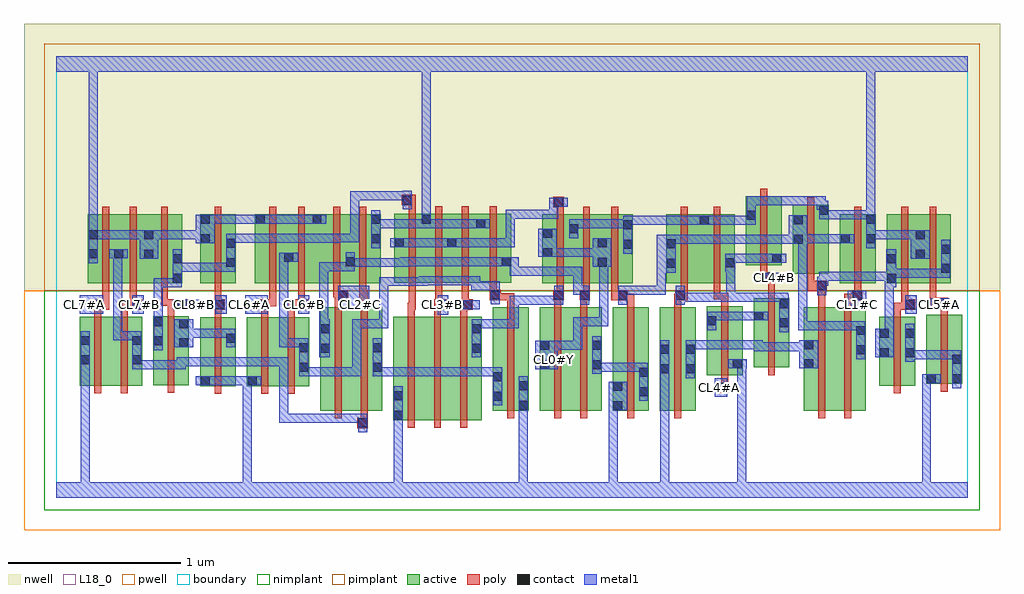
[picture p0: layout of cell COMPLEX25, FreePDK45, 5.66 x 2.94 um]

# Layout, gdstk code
import gdstk
lib = gdstk.Library(unit=1e-6, precision=1e-09)
def R(c, l, rs):  # rectangles x0, y0, x1, y1
    for r in rs: c.add(gdstk.rectangle(r[:2], r[2:], *l))
def A(c, l, x, y, w, h, nx, ny, dx, dy):  # array of equal rectangles
    R(c, l, [(x+i*dx, y+j*dy, x+i*dx+w, y+j*dy+h) for i in range(nx) for j in range(ny)])
active = (1, 0)
pwell = (2, 0)
nwell = (3, 0)
nimplant = (4, 0)
pimplant = (5, 0)
poly = (9, 0)
contact = (10, 0)
metal1 = (11, 0)
L18_0 = (18, 0)
boundary = (235, 0)

complex25 = lib.new_cell('COMPLEX25')
A(complex25, active, 3.1, 0.556, 0.06, 0.548, 3, 1, 0.272, 0)
R(complex25, active, [(1.952,0.45,2.132,1.05), (1.952,0.45,2.012,1.05), (2.132,0.45,2.284,1.05), (2.284,0.45,2.464,1.05), (1.528,0.504,1.708,1.104), (1.708,0.504,1.888,1.104), (2.8,0.504,2.98,1.104), (2.8,0.504,2.86,1.104), (2.98,0.504,3.16,1.104), (3.224,0.504,3.432,1.104), (3.224,0.504,3.284,1.104), (3.496,0.504,3.704,1.104), (3.496,0.504,3.556,1.104), (4.33,0.504,4.51,1.104), (4.51,0.504,4.69,1.104), (2.528,0.506,2.736,1.106), (2.676,0.508,2.736,1.106), (1.528,0.556,1.588,1.104), (1.828,0.556,1.888,1.104), (2.404,0.556,2.464,1.05), (2.528,0.556,2.588,1.106), (4.33,0.556,4.39,1.104), (4.63,0.556,4.69,1.104), (0.832,0.648,1.04,1.048), (0.832,0.648,0.892,0.948), (1.104,0.648,1.284,1.048), (1.104,0.648,1.164,0.948), (1.284,0.648,1.464,1.048), (0.136,0.65,0.316,1.05), (0.316,0.65,0.496,1.05), (4.768,0.65,4.976,1.05), (0.56,0.652,0.768,1.052), (5.04,0.66,5.1,1.06), (5.04,0.66,5.248,1.06), (5.188,0.66,5.248,1.06), (3.768,0.71,3.976,1.11), (3.916,0.71,3.976,0.948), (1.404,0.728,1.464,1.048), (0.136,0.756,0.196,1.05), (0.436,0.756,0.496,1.05), (0.56,0.756,0.62,1.052), (0.708,0.756,0.768,1.052), (0.98,0.756,1.04,1.048), (3.768,0.756,3.828,1.11), (4.04,0.756,4.1,1.156), (4.04,0.756,4.248,1.156), (4.188,0.756,4.248,1.156), (4.768,0.756,4.828,1.05), (4.916,0.756,4.976,1.05), (0.182,1.244,0.242,1.644), (0.182,1.244,0.39,1.644), (0.33,1.244,0.39,1.644), (0.33,1.244,0.566,1.644), (0.506,1.244,0.566,1.644), (0.506,1.244,0.73,1.644), (0.67,1.244,0.73,1.644), (0.832,1.244,0.892,1.644), (0.832,1.244,1.04,1.644), (0.98,1.244,1.04,1.644), (1.15,1.244,1.21,1.644), (1.15,1.244,1.376,1.644), (1.316,1.244,1.376,1.644), (1.316,1.244,1.54,1.644), (1.48,1.244,1.54,1.644), (1.48,1.244,1.732,1.644), (1.672,1.244,1.732,1.644), (1.672,1.244,1.88,1.644), (1.82,1.244,1.88,1.644), (2.816,1.244,2.876,1.644), (2.816,1.244,3.028,1.644), (2.968,1.244,3.028,1.644), (2.968,1.244,3.192,1.644), (3.132,1.244,3.192,1.644), (3.132,1.244,3.34,1.644), (3.28,1.244,3.34,1.644), (3.534,1.244,3.594,1.644), (3.534,1.244,3.784,1.644), (3.724,1.244,3.784,1.644), (3.724,1.244,3.932,1.644), (3.872,1.244,3.932,1.644), (4.54,1.244,4.6,1.644), (4.54,1.244,4.748,1.644), (4.688,1.244,4.748,1.644), (4.812,1.244,4.872,1.644), (4.812,1.244,5.036,1.644), (4.976,1.244,5.036,1.644), (4.976,1.244,5.184,1.644), (5.124,1.244,5.184,1.644), (1.958,1.246,2.018,1.644), (1.958,1.246,2.172,1.646), (2.112,1.246,2.172,1.646), (2.112,1.246,2.322,1.646), (2.262,1.246,2.322,1.644), (2.262,1.246,2.488,1.646), (2.428,1.246,2.488,1.646), (2.428,1.246,2.636,1.646), (2.576,1.246,2.636,1.644), (4.268,1.298,4.476,1.698), (4.268,1.298,4.328,1.644), (4.416,1.298,4.476,1.698), (3.996,1.348,4.204,1.748), (4.144,1.348,4.204,1.644), (3.996,1.48,4.056,1.668)])
R(complex25, pwell, [(-0.188,-0.188,5.468,1.2)])
R(complex25, nwell, [(-0.188,1.2,5.468,2.748)])
R(complex25, nimplant, [(-0.072,-0.072,5.352,1.2)])
R(complex25, pimplant, [(-0.072,1.2,5.352,2.632)])
A(complex25, poly, 2.036, 0.406, 0.04, 0.688, 3, 1, 0.152, 0)
A(complex25, poly, 3.036, 0.46, 0.04, 0.688, 3, 1, 0.272, 0)
A(complex25, poly, 2.036, 1.054, 0.04, 0.076, 3, 1, 0.152, 0)
A(complex25, poly, 3.036, 1.108, 0.04, 0.076, 3, 1, 0.272, 0)
R(complex25, poly, [(1.744,0.404,1.804,0.464), (1.764,0.424,1.804,0.5), (1.612,0.46,1.652,1.148), (1.764,0.46,1.804,1.148), (2.884,0.46,2.924,1.148), (4.414,0.46,4.454,1.148), (4.566,0.46,4.606,1.148), (2.612,0.462,2.652,1.15), (0.916,0.604,0.956,1.092), (1.188,0.604,1.228,1.092), (1.34,0.604,1.38,1.092), (0.22,0.606,0.26,1.094), (0.372,0.606,0.412,1.094), (4.852,0.606,4.892,1.094), (0.644,0.608,0.684,1.096), (3.832,0.61,3.892,0.67), (5.124,0.616,5.164,1.104), (3.852,0.63,3.892,0.706), (3.852,0.666,3.892,1.154), (4.124,0.712,4.164,1.2), (0.916,1.052,0.956,1.13), (1.188,1.052,1.228,1.13), (1.34,1.052,1.38,1.13), (0.22,1.054,0.26,1.13), (0.372,1.054,0.412,1.13), (4.852,1.054,4.892,1.13), (0.644,1.056,0.684,1.132), (5.124,1.064,5.164,1.14), (0.216,1.09,0.306,1.15), (0.22,1.09,0.26,1.13), (0.22,1.09,0.26,1.13), (0.372,1.09,0.496,1.15), (0.916,1.09,0.976,1.15), (1.168,1.09,1.228,1.15), (1.34,1.09,1.458,1.15), (2.036,1.09,2.076,1.13), (2.036,1.09,2.076,1.13), (2.036,1.09,2.082,1.13), (2.042,1.09,2.082,1.242), (2.188,1.09,2.266,1.15), (2.34,1.09,2.412,1.15), (4.852,1.09,4.936,1.13), (4.896,1.09,4.936,1.13), (4.896,1.09,4.976,1.15), (0.644,1.092,0.758,1.152), (5.09,1.1,5.164,1.16), (1.612,1.108,1.652,1.184), (1.764,1.108,1.804,1.204), (2.884,1.108,2.924,1.184), (4.414,1.108,4.454,1.238), (4.566,1.108,4.606,1.184), (0.266,1.11,0.306,1.24), (0.426,1.11,0.466,1.15), (0.426,1.11,0.466,1.15), (0.426,1.11,0.466,1.24), (0.916,1.11,0.956,1.15), (0.916,1.11,0.956,1.15), (0.916,1.11,0.956,1.24), (1.188,1.11,1.228,1.15), (1.188,1.11,1.274,1.15), (1.234,1.11,1.274,1.24), (1.4,1.11,1.44,1.15), (1.4,1.11,1.44,1.15), (1.4,1.11,1.44,1.24), (2.196,1.11,2.236,1.15), (2.196,1.11,2.236,1.15), (2.196,1.11,2.236,1.242), (2.348,1.11,2.388,1.15), (2.348,1.11,2.388,1.15), (2.348,1.11,2.388,1.242), (2.612,1.11,2.652,1.186), (4.896,1.11,4.936,1.24), (0.606,1.112,0.646,1.24), (0.606,1.112,0.684,1.152), (0.644,1.112,0.684,1.152), (3.852,1.114,3.892,1.19), (5.06,1.12,5.1,1.24), (5.06,1.12,5.13,1.16), (5.09,1.12,5.13,1.16), (1.612,1.144,1.69,1.204), (2.88,1.144,2.94,1.204), (3.032,1.144,3.092,1.204), (3.036,1.144,3.076,1.184), (3.036,1.144,3.076,1.184), (3.216,1.144,3.312,1.204), (3.272,1.144,3.312,1.184), (3.272,1.144,3.348,1.184), (3.58,1.144,3.626,1.184), (3.586,1.144,3.626,1.184), (3.586,1.144,3.658,1.204), (4.566,1.144,4.65,1.184), (4.61,1.144,4.65,1.184), (4.61,1.144,4.67,1.204), (2.512,1.146,2.574,1.206), (2.534,1.146,2.574,1.186), (2.534,1.146,2.652,1.186), (3.808,1.15,3.848,1.19), (3.808,1.15,3.848,1.19), (3.808,1.15,3.892,1.19), (3.808,1.15,3.848,1.24), (4.124,1.16,4.164,1.288), (1.604,1.164,1.644,1.24), (1.604,1.164,1.652,1.204), (1.612,1.164,1.652,1.204), (1.756,1.164,1.796,1.24), (1.756,1.164,1.804,1.204), (1.764,1.164,1.804,1.204), (1.764,1.164,1.804,1.204), (2.9,1.164,2.94,1.204), (2.9,1.164,2.94,1.204), (2.9,1.164,2.94,1.24), (3.052,1.164,3.092,1.24), (3.216,1.164,3.256,1.24), (3.618,1.164,3.658,1.24), (4.624,1.164,4.664,1.24), (2.512,1.166,2.552,1.242), (4.352,1.198,4.464,1.258), (4.414,1.198,4.454,1.238), (4.414,1.198,4.454,1.238), (0.266,1.2,0.306,1.688), (0.426,1.2,0.466,1.688), (0.606,1.2,0.646,1.688), (0.916,1.2,0.956,1.688), (1.234,1.2,1.274,1.688), (1.4,1.2,1.44,1.688), (1.604,1.2,1.644,1.688), (1.756,1.2,1.796,1.688), (2.9,1.2,2.94,1.688), (3.052,1.2,3.092,1.688), (3.216,1.2,3.256,1.688), (3.618,1.2,3.658,1.688), (3.808,1.2,3.848,1.688), (4.624,1.2,4.664,1.688), (4.896,1.2,4.936,1.688), (5.06,1.2,5.1,1.688), (2.042,1.202,2.082,1.69), (2.196,1.202,2.236,1.69), (2.348,1.202,2.388,1.69), (2.512,1.202,2.552,1.69), (4.352,1.218,4.392,1.294), (4.08,1.248,4.164,1.308), (4.124,1.248,4.164,1.288), (4.124,1.248,4.164,1.288), (4.352,1.254,4.392,1.742), (4.08,1.268,4.12,1.344), (4.08,1.304,4.12,1.792), (2.9,1.648,2.94,1.724), (2.042,1.65,2.082,1.736), (2.88,1.684,2.94,1.744), (2.002,1.696,2.082,1.756)])
R(complex25, contact, [(1.748,0.408,1.8,0.46), (1.956,0.454,2.008,0.506), (3.228,0.508,3.28,0.56), (2.68,0.512,2.732,0.564), (2.532,0.564,2.584,0.616), (1.956,0.566,2.008,0.618), (3.376,0.59,3.428,0.642), (3.836,0.614,3.888,0.666), (3.228,0.62,3.28,0.672), (2.68,0.624,2.732,0.676), (0.836,0.652,0.888,0.704), (1.108,0.652,1.16,0.704), (5.044,0.664,5.096,0.716), (5.192,0.664,5.244,0.716), (2.532,0.676,2.584,0.728), (3.376,0.702,3.428,0.754), (3.5,0.722,3.552,0.774), (3.648,0.722,3.7,0.774), (1.408,0.732,1.46,0.784), (1.832,0.732,1.884,0.784), (2.804,0.746,2.856,0.798), (3.104,0.746,3.156,0.798), (4.334,0.75,4.386,0.802), (3.92,0.752,3.972,0.804), (0.14,0.774,0.192,0.826), (0.44,0.774,0.492,0.826), (5.192,0.776,5.244,0.828), (4.772,0.816,4.824,0.868), (4.92,0.816,4.972,0.868), (4.634,0.832,4.686,0.884), (3.5,0.834,3.552,0.886), (3.648,0.834,3.7,0.886), (1.532,0.842,1.584,0.894), (2.408,0.842,2.46,0.894), (1.408,0.844,1.46,0.896), (1.832,0.844,1.884,0.896), (2.804,0.858,2.856,0.91), (3.104,0.858,3.156,0.91), (4.334,0.862,4.386,0.914), (0.712,0.872,0.764,0.924), (0.564,0.884,0.616,0.936), (0.14,0.886,0.192,0.938), (0.44,0.886,0.492,0.938), (0.984,0.9,1.036,0.952), (4.772,0.928,4.824,0.98), (4.92,0.928,4.972,0.98), (4.634,0.944,4.686,0.996), (1.532,0.954,1.584,1.006), (2.408,0.954,2.46,1.006), (0.712,0.984,0.764,1.036), (4.192,0.988,4.244,1.04), (0.564,0.996,0.616,1.048), (3.772,1,3.824,1.052), (4.044,1.028,4.096,1.08), (0.22,1.094,0.272,1.146), (0.44,1.094,0.492,1.146), (0.92,1.094,0.972,1.146), (1.172,1.094,1.224,1.146), (1.402,1.094,1.454,1.146), (2.21,1.094,2.262,1.146), (2.356,1.094,2.408,1.146), (4.92,1.094,4.972,1.146), (0.702,1.096,0.754,1.148), (4.192,1.1,4.244,1.152), (5.094,1.104,5.146,1.156), (1.634,1.148,1.686,1.2), (2.884,1.148,2.936,1.2), (3.036,1.148,3.088,1.2), (3.256,1.148,3.308,1.2), (3.59,1.148,3.642,1.2), (4.614,1.148,4.666,1.2), (2.518,1.15,2.57,1.202), (4.408,1.202,4.46,1.254), (0.674,1.248,0.726,1.3), (4.816,1.248,4.868,1.3), (4.108,1.252,4.16,1.304), (5.128,1.304,5.18,1.356), (3.538,1.334,3.59,1.386), (3.876,1.336,3.928,1.388), (0.984,1.338,1.036,1.39), (3.136,1.34,3.188,1.392), (1.676,1.342,1.728,1.394), (2.58,1.342,2.632,1.394), (0.674,1.36,0.726,1.412), (4.816,1.36,4.868,1.412), (4.148,1.364,4.2,1.416), (1.32,1.368,1.372,1.42), (0.51,1.386,0.562,1.438), (4.98,1.386,5.032,1.438), (0.186,1.388,0.238,1.44), (0.334,1.388,0.386,1.44), (2.82,1.396,2.872,1.448), (5.128,1.416,5.18,1.468), (3.284,1.444,3.336,1.496), (3.538,1.446,3.59,1.498), (0.984,1.45,1.036,1.502), (1.962,1.452,2.014,1.504), (2.266,1.452,2.318,1.504), (3.136,1.452,3.188,1.504), (4.272,1.474,4.324,1.526), (0.836,1.476,0.888,1.528), (1.824,1.476,1.876,1.528), (4.544,1.476,4.596,1.528), (4.692,1.476,4.744,1.528), (0.51,1.498,0.562,1.55), (4.98,1.498,5.032,1.55), (0.186,1.5,0.238,1.552), (2.82,1.508,2.872,1.56), (2.972,1.534,3.024,1.586), (3.284,1.556,3.336,1.608), (2.432,1.562,2.484,1.614), (3.728,1.584,3.78,1.636), (4.272,1.586,4.324,1.638), (0.836,1.588,0.888,1.64), (1.154,1.588,1.206,1.64), (1.484,1.588,1.536,1.64), (1.824,1.588,1.876,1.64), (4.692,1.588,4.744,1.64), (2.116,1.59,2.168,1.642), (4,1.612,4.052,1.664), (4.42,1.642,4.472,1.694), (2.884,1.688,2.936,1.74), (2.006,1.7,2.058,1.752)])
R(complex25, metal1, [(0,0,5.28,0.092), (0.14,0.04,0.192,0.092), (0.14,0.04,0.192,0.092), (0.14,0.04,0.192,0.092), (0.14,0.04,0.192,0.092), (0.14,0.04,0.192,0.092), (0.14,0.04,0.192,0.092), (0.14,0.04,0.192,0.092), (0.14,0.04,0.192,0.092), (0.14,0.04,0.192,0.798), (1.08,0.04,1.132,0.092), (1.08,0.04,1.132,0.092), (1.08,0.04,1.132,0.092), (1.08,0.04,1.132,0.092), (1.08,0.04,1.132,0.092), (1.08,0.04,1.132,0.092), (1.08,0.04,1.132,0.092), (1.08,0.04,1.132,0.092), (1.08,0.04,1.132,0.704), (1.956,0.04,2.008,0.092), (1.956,0.04,2.008,0.092), (1.956,0.04,2.008,0.092), (1.956,0.04,2.008,0.092), (1.956,0.04,2.008,0.092), (1.956,0.04,2.008,0.092), (1.956,0.04,2.008,0.478), (2.68,0.04,2.732,0.092), (2.68,0.04,2.732,0.092), (2.68,0.04,2.732,0.092), (2.68,0.04,2.732,0.092), (2.68,0.04,2.732,0.092), (2.68,0.04,2.732,0.092), (2.68,0.04,2.732,0.092), (2.68,0.04,2.732,0.092), (2.68,0.04,2.732,0.536), (3.2,0.04,3.252,0.092), (3.2,0.04,3.252,0.092), (3.2,0.04,3.252,0.092), (3.2,0.04,3.252,0.092), (3.2,0.04,3.252,0.092), (3.2,0.04,3.252,0.092), (3.2,0.04,3.252,0.56), (3.5,0.04,3.552,0.092), (3.5,0.04,3.552,0.092), (3.5,0.04,3.552,0.746), (3.946,0.04,3.998,0.092), (3.946,0.04,3.998,0.092), (3.946,0.04,3.998,0.092), (3.946,0.04,3.998,0.092), (3.946,0.04,3.998,0.092), (3.946,0.04,3.998,0.092), (3.946,0.04,3.998,0.092), (3.946,0.04,3.998,0.092), (3.946,0.04,3.998,0.092), (3.946,0.04,3.998,0.092), (3.946,0.04,3.998,0.804), (5.016,0.04,5.068,0.092), (5.016,0.04,5.068,0.092), (5.016,0.04,5.068,0.092), (5.016,0.04,5.068,0.092), (5.016,0.04,5.068,0.092), (5.016,0.04,5.068,0.092), (5.016,0.04,5.068,0.716), (1.748,0.38,1.8,0.488), (1.956,0.426,2.008,0.478), (1.956,0.426,2.008,0.478), (1.956,0.426,2.008,0.646), (1.292,0.436,1.344,0.488), (1.292,0.436,1.344,0.488), (1.292,0.436,1.344,0.488), (1.292,0.436,1.466,0.488), (1.292,0.436,1.344,0.814), (1.414,0.436,1.466,0.488), (1.414,0.436,1.466,0.488), (1.414,0.436,1.466,0.488), (1.414,0.436,1.466,0.488), (1.414,0.436,1.466,0.488), (1.414,0.436,1.466,0.488), (1.414,0.436,1.466,0.488), (1.414,0.436,1.646,0.488), (1.594,0.436,1.646,0.488), (1.594,0.436,1.686,0.488), (1.634,0.436,1.686,0.488), (1.634,0.436,1.686,0.488), (1.634,0.436,1.686,0.488), (1.634,0.436,1.8,0.488), (2.68,0.484,2.732,0.704), (3.2,0.508,3.252,0.56), (3.2,0.508,3.252,0.56), (3.2,0.508,3.308,0.672), (2.532,0.536,2.584,0.756), (3.376,0.562,3.428,0.782), (3.814,0.586,3.888,0.694), (5.192,0.636,5.244,0.856), (0.808,0.652,0.916,0.704), (0.864,0.652,0.916,0.704), (0.864,0.652,0.916,0.704), (0.864,0.652,1.036,0.704), (0.984,0.652,1.036,0.704), (0.984,0.652,1.132,0.704), (1.08,0.652,1.132,0.704), (1.08,0.652,1.132,0.704), (1.08,0.652,1.132,0.704), (1.08,0.652,1.132,0.704), (1.08,0.652,1.188,0.704), (5.016,0.664,5.068,0.716), (5.016,0.664,5.068,0.716), (5.016,0.664,5.068,0.716), (5.016,0.664,5.068,0.716), (5.016,0.664,5.068,0.716), (5.016,0.664,5.068,0.716), (5.016,0.664,5.124,0.716), (3.5,0.694,3.552,0.746), (3.5,0.694,3.552,0.746), (3.5,0.694,3.552,0.746), (3.5,0.694,3.552,0.746), (3.5,0.694,3.552,0.746), (3.5,0.694,3.552,0.746), (3.5,0.694,3.552,0.914), (3.648,0.694,3.7,0.914), (1.408,0.704,1.46,0.756), (1.408,0.704,1.46,0.756), (1.408,0.704,1.46,0.756), (1.408,0.704,1.46,0.756), (1.408,0.704,1.46,0.924), (1.408,0.704,1.646,0.756), (1.594,0.704,1.646,0.756), (1.594,0.704,1.766,0.756), (1.714,0.704,1.766,0.756), (1.714,0.704,1.766,1.034), (1.832,0.704,1.884,0.924), (1.832,0.704,2.042,0.756), (1.99,0.704,2.042,0.756), (1.99,0.704,2.042,0.756), (1.99,0.704,2.042,0.756), (1.99,0.704,2.18,0.756), (2.128,0.704,2.18,0.756), (2.128,0.704,2.18,0.756), (2.128,0.704,2.18,0.756), (2.128,0.704,2.346,0.756), (2.294,0.704,2.346,0.756), (2.294,0.704,2.346,0.756), (2.294,0.704,2.346,0.756), (2.294,0.704,2.456,0.756), (2.404,0.704,2.456,0.756), (2.404,0.704,2.584,0.756), (3.104,0.718,3.156,0.938), (3.104,0.73,3.198,0.782), (3.146,0.73,3.198,0.782), (3.146,0.73,3.422,0.782), (3.37,0.73,3.422,0.782), (3.37,0.73,3.428,0.782), (0.14,0.746,0.192,0.798), (0.14,0.746,0.192,0.798), (0.14,0.746,0.192,0.798), (0.14,0.746,0.192,0.798), (0.14,0.746,0.192,0.966), (0.44,0.746,0.492,0.798), (0.44,0.746,0.492,0.798), (0.44,0.746,0.492,0.798), (0.44,0.746,0.492,0.798), (0.44,0.746,0.492,0.966), (0.44,0.746,0.75,0.798), (0.698,0.746,0.75,0.814), (2.776,0.746,2.906,0.91), (4.306,0.75,4.414,0.914), (3.892,0.752,4,0.804), (3.946,0.752,3.998,0.804), (3.946,0.752,3.998,0.804), (0.698,0.762,0.75,0.814), (0.698,0.762,0.75,0.814), (0.698,0.762,0.902,0.814), (0.85,0.762,0.902,0.814), (0.85,0.762,0.902,0.814), (0.85,0.762,0.902,0.814), (0.85,0.762,1.036,0.814), (0.984,0.762,1.036,0.814), (0.984,0.762,1.154,0.814), (1.102,0.762,1.154,0.814), (1.102,0.762,1.154,0.814), (1.102,0.762,1.154,0.814), (1.102,0.762,1.154,0.814), (1.102,0.762,1.154,0.814), (1.102,0.762,1.344,0.814), (1.292,0.762,1.344,0.814), (4.92,0.788,4.972,1.008), (4.634,0.804,4.686,1.024), (4.92,0.804,4.978,0.856), (4.926,0.804,4.978,0.856), (4.926,0.804,5.244,0.856), (5.192,0.804,5.244,0.856), (5.192,0.804,5.244,0.856), (1.524,0.814,1.584,1.034), (2.408,0.814,2.46,1.034), (4.744,0.816,4.852,0.98), (4.04,0.85,4.162,0.902), (4.04,0.85,4.092,0.914), (4.11,0.85,4.162,0.902), (4.11,0.85,4.358,0.902), (0.564,0.856,0.616,1.076), (2.854,0.858,2.906,0.91), (2.854,0.858,2.906,0.91), (2.854,0.858,2.906,0.91), (2.854,0.858,2.906,0.91), (2.854,0.858,3.046,0.91), (2.994,0.858,3.046,0.91), (2.994,0.858,3.046,1.048), (3.648,0.862,3.818,0.914), (3.766,0.862,3.818,0.914), (3.766,0.862,3.934,0.914), (3.882,0.862,3.934,0.914), (3.882,0.862,3.934,0.914), (3.882,0.862,3.934,0.914), (3.882,0.862,4.044,0.914), (3.992,0.862,4.044,0.914), (3.992,0.862,4.092,0.914), (0.684,0.872,0.792,1.036), (0.984,0.872,1.036,0.98), (1.292,0.872,1.344,0.924), (1.292,0.872,1.344,0.924), (1.292,0.872,1.344,0.924), (1.292,0.872,1.344,0.924), (1.292,0.872,1.344,0.924), (1.292,0.872,1.344,0.924), (1.292,0.872,1.344,0.924), (1.292,0.872,1.46,0.924), (1.292,0.872,1.344,1.42), (0.33,0.914,0.382,0.966), (0.33,0.914,0.382,0.966), (0.33,0.914,0.382,0.966), (0.33,0.914,0.492,0.966), (0.33,0.914,0.382,1.44), (0.74,0.928,0.926,0.98), (0.874,0.928,0.926,0.98), (0.874,0.928,0.926,0.98), (0.874,0.928,0.926,0.98), (0.874,0.928,1.036,0.98), (4.8,0.928,4.852,1.272), (4.188,0.96,4.244,1.18), (3.772,0.972,3.824,1.08), (4.3,0.972,4.352,1.024), (4.3,0.972,4.406,1.024), (4.3,0.972,4.352,1.526), (4.354,0.972,4.406,1.024), (4.354,0.972,4.472,1.024), (4.42,0.972,4.472,1.024), (4.42,0.972,4.57,1.024), (4.518,0.972,4.57,1.024), (4.518,0.972,4.686,1.024), (4.634,0.972,4.686,1.024), (4.634,0.972,4.686,1.024), (1.524,0.982,1.576,1.034), (1.524,0.982,1.576,1.034), (1.524,0.982,1.576,1.366), (1.714,0.982,1.766,1.034), (1.714,0.982,1.766,1.034), (1.714,0.982,1.766,1.034), (1.714,0.982,1.924,1.034), (1.872,0.982,1.924,1.034), (1.872,0.982,1.924,1.034), (1.872,0.982,1.924,1.034), (1.872,0.982,1.924,1.28), (2.408,0.982,2.46,1.034), (2.408,0.982,2.46,1.034), (2.408,0.982,2.68,1.034), (2.628,0.982,2.68,1.034), (2.628,0.982,2.68,1.034), (2.628,0.982,2.68,1.034), (2.628,0.982,2.68,1.172), (2.994,0.996,3.046,1.048), (2.994,0.996,3.046,1.048), (2.994,0.996,3.046,1.048), (2.994,0.996,3.198,1.048), (3.146,0.996,3.198,1.048), (3.146,0.996,3.198,1.048), (3.146,0.996,3.198,1.048), (3.146,0.996,3.198,1.392), (0.564,1.024,0.616,1.076), (0.564,1.024,0.616,1.076), (0.564,1.024,0.616,1.076), (0.564,1.024,0.616,1.076), (0.564,1.024,0.616,1.272), (3.772,1.028,3.934,1.08), (3.882,1.028,3.934,1.08), (3.882,1.028,3.934,1.08), (3.882,1.028,3.934,1.08), (3.882,1.028,4.068,1.08), (4.016,1.028,4.124,1.08), (2.21,1.062,2.27,1.174), (0.134,1.066,0.272,1.174), (0.44,1.066,0.506,1.174), (0.92,1.066,0.986,1.174), (1.094,1.066,1.224,1.174), (1.402,1.066,1.466,1.174), (4.92,1.066,4.986,1.174), (0.674,1.094,0.854,1.148), (1.634,1.094,1.814,1.228), (2.328,1.094,2.454,1.146), (4.586,1.094,4.694,1.2), (5.066,1.094,5.174,1.156), (2.628,1.12,2.68,1.172), (2.628,1.12,2.79,1.172), (2.738,1.12,2.79,1.172), (2.738,1.12,2.936,1.172), (2.884,1.12,2.936,1.228), (3.036,1.12,3.088,1.228), (3.256,1.12,3.308,1.228), (3.59,1.12,3.642,1.228), (2.518,1.122,2.57,1.256), (4.188,1.128,4.24,1.19), (3.59,1.138,3.7,1.19), (3.648,1.138,3.7,1.19), (3.648,1.138,3.752,1.19), (3.7,1.138,3.752,1.19), (3.7,1.138,3.934,1.19), (3.882,1.138,3.934,1.19), (3.882,1.138,3.934,1.19), (3.882,1.138,3.934,1.19), (3.882,1.138,3.934,1.19), (3.882,1.138,3.934,1.19), (3.882,1.138,4.044,1.19), (3.882,1.138,3.934,1.36), (3.992,1.138,4.044,1.19), (3.992,1.138,4.044,1.19), (3.992,1.138,4.044,1.19), (3.992,1.138,4.24,1.19), (4.188,1.138,4.24,1.19), (4.408,1.174,4.46,1.282), (2.994,1.176,3.088,1.228), (2.994,1.176,3.046,1.338), (3.256,1.176,3.308,1.228), (3.256,1.176,3.308,1.228), (3.256,1.176,3.532,1.228), (3.48,1.176,3.532,1.228), (3.48,1.176,3.532,1.358), (2.404,1.204,2.456,1.256), (2.404,1.204,2.456,1.256), (2.404,1.204,2.456,1.284), (2.404,1.204,2.57,1.256), (0.564,1.22,0.616,1.272), (0.564,1.22,0.726,1.272), (0.674,1.22,0.726,1.272), (0.674,1.22,0.726,1.272), (0.674,1.22,0.726,1.44), (4.8,1.22,4.852,1.272), (4.8,1.22,4.852,1.272), (4.8,1.22,4.862,1.272), (4.81,1.22,4.862,1.272), (4.81,1.22,4.868,1.44), (1.872,1.228,1.924,1.28), (1.872,1.228,2.07,1.28), (2.018,1.228,2.07,1.28), (2.018,1.228,2.152,1.28), (2.1,1.228,2.152,1.28), (2.1,1.228,2.152,1.28), (2.1,1.228,2.152,1.284), (4.408,1.23,4.472,1.282), (4.42,1.23,4.472,1.282), (4.42,1.23,4.472,1.31), (2.1,1.232,2.236,1.284), (2.184,1.232,2.236,1.284), (2.184,1.232,2.346,1.284), (2.294,1.232,2.346,1.284), (2.294,1.232,2.346,1.284), (2.294,1.232,2.346,1.284), (2.294,1.232,2.456,1.284), (4.08,1.252,4.214,1.306), (4.42,1.258,4.472,1.31), (4.42,1.258,4.576,1.31), (4.524,1.258,4.576,1.31), (4.524,1.258,4.686,1.31), (4.634,1.258,4.686,1.31), (4.634,1.258,4.686,1.31), (4.634,1.258,4.686,1.31), (4.634,1.258,4.862,1.31), (4.816,1.276,4.868,1.328), (4.816,1.276,4.868,1.328), (4.816,1.276,5.008,1.328), (4.956,1.276,5.008,1.328), (4.956,1.276,5.008,1.328), (4.956,1.276,5.008,1.328), (4.956,1.276,5.18,1.328), (5.128,1.276,5.18,1.328), (5.128,1.276,5.18,1.328), (5.128,1.276,5.18,1.496), (2.628,1.286,2.68,1.338), (2.628,1.286,2.68,1.394), (2.628,1.286,2.814,1.338), (2.762,1.286,2.814,1.338), (2.762,1.286,2.814,1.338), (2.762,1.286,2.814,1.338), (2.762,1.286,3.046,1.338), (3.48,1.306,3.59,1.526), (3.876,1.308,3.934,1.416), (0.674,1.31,0.926,1.362), (0.874,1.31,0.926,1.362), (0.874,1.31,0.926,1.362), (0.874,1.31,0.926,1.362), (0.874,1.31,1.036,1.362), (0.984,1.31,1.036,1.53), (1.524,1.314,1.576,1.366), (1.524,1.314,1.576,1.366), (1.524,1.314,1.576,1.366), (1.524,1.314,1.576,1.366), (1.524,1.314,1.576,1.366), (1.524,1.314,1.728,1.366), (1.676,1.314,1.728,1.422), (1.676,1.338,1.766,1.39), (1.714,1.338,1.766,1.39), (1.714,1.338,1.91,1.39), (1.858,1.338,1.91,1.39), (1.858,1.338,2.042,1.39), (1.99,1.338,2.042,1.39), (1.99,1.338,2.042,1.39), (1.99,1.338,2.042,1.394), (3.108,1.34,3.216,1.504), (1.99,1.342,2.18,1.394), (2.128,1.342,2.18,1.394), (2.128,1.342,2.236,1.394), (2.184,1.342,2.236,1.394), (2.184,1.342,2.346,1.394), (2.294,1.342,2.346,1.394), (2.294,1.342,2.346,1.394), (2.294,1.342,2.346,1.394), (2.294,1.342,2.46,1.394), (2.408,1.342,2.46,1.394), (2.408,1.342,2.46,1.394), (2.408,1.342,2.46,1.394), (2.408,1.342,2.604,1.394), (2.552,1.342,2.604,1.394), (2.552,1.342,2.604,1.394), (2.552,1.342,2.68,1.394), (0.186,1.36,0.238,1.58), (3.882,1.364,4.044,1.416), (3.992,1.364,4.044,1.416), (3.992,1.364,4.172,1.416), (4.12,1.364,4.172,1.416), (4.12,1.364,4.172,1.416), (4.12,1.364,4.228,1.416), (1.292,1.368,1.4,1.42), (0.482,1.386,0.59,1.55), (4.952,1.386,5.06,1.55), (0.306,1.388,0.414,1.44), (0.33,1.388,0.382,1.44), (0.33,1.388,0.382,1.44), (0.33,1.388,0.382,1.44), (0.33,1.388,0.382,1.44), (2.792,1.396,2.9,1.56), (2.848,1.396,2.9,1.448), (2.848,1.396,2.9,1.448), (2.848,1.396,3.046,1.448), (2.994,1.396,3.046,1.448), (2.994,1.396,3.046,1.448), (2.994,1.396,3.046,1.448), (2.994,1.396,3.16,1.448), (3.284,1.416,3.336,1.636), (1.824,1.448,1.876,1.668), (4.692,1.448,4.744,1.668), (1.934,1.452,2.042,1.504), (1.99,1.452,2.042,1.504), (1.99,1.452,2.042,1.504), (1.99,1.452,2.18,1.504), (2.128,1.452,2.18,1.504), (2.128,1.452,2.18,1.504), (2.128,1.452,2.18,1.504), (2.128,1.452,2.29,1.504), (2.238,1.452,2.346,1.504), (2.294,1.452,2.346,1.504), (2.294,1.452,2.346,1.504), (2.294,1.452,2.456,1.504), (2.404,1.452,2.456,1.504), (2.404,1.452,2.456,1.504), (2.404,1.452,2.456,1.504), (2.404,1.452,2.656,1.504), (2.604,1.452,2.656,1.67), (3.538,1.474,3.59,1.526), (3.538,1.474,3.59,1.526), (3.538,1.474,3.708,1.526), (3.656,1.474,3.708,1.526), (3.656,1.474,3.818,1.526), (3.766,1.474,3.818,1.526), (3.766,1.474,3.818,1.526), (3.766,1.474,3.818,1.526), (3.766,1.474,3.818,1.526), (3.766,1.474,3.818,1.526), (3.766,1.474,3.934,1.526), (3.882,1.474,3.934,1.526), (3.882,1.474,4.044,1.526), (3.992,1.474,4.044,1.526), (3.992,1.474,4.044,1.526), (3.992,1.474,4.044,1.526), (3.992,1.474,4.296,1.526), (4.244,1.474,4.296,1.526), (4.244,1.474,4.296,1.526), (4.244,1.474,4.352,1.638), (4.298,1.474,4.35,1.526), (4.298,1.474,4.35,1.526), (4.298,1.474,4.35,1.526), (4.298,1.474,4.35,1.526), (4.298,1.474,4.35,1.526), (4.298,1.474,4.352,1.526), (0.808,1.476,0.916,1.64), (4.3,1.476,4.458,1.528), (4.406,1.476,4.458,1.528), (4.406,1.476,4.462,1.528), (4.41,1.476,4.462,1.528), (4.41,1.476,4.568,1.528), (4.516,1.476,4.624,1.528), (0.984,1.478,1.036,1.53), (0.984,1.478,1.036,1.53), (0.984,1.478,1.234,1.53), (1.182,1.478,1.234,1.53), (1.182,1.478,1.234,1.53), (1.182,1.478,1.234,1.53), (1.182,1.478,1.344,1.53), (1.292,1.478,1.344,1.53), (1.292,1.478,1.344,1.53), (1.292,1.478,1.344,1.53), (1.292,1.478,1.466,1.53), (1.414,1.478,1.466,1.53), (1.414,1.478,1.466,1.53), (1.414,1.478,1.466,1.53), (1.414,1.478,1.646,1.53), (1.594,1.478,1.646,1.532), (1.594,1.48,1.756,1.532), (1.704,1.48,1.756,1.532), (1.704,1.48,1.756,1.778), (0.186,1.498,0.238,1.55), (0.186,1.498,0.238,1.55), (0.186,1.498,0.382,1.55), (0.33,1.498,0.382,1.55), (0.33,1.498,0.382,1.55), (0.33,1.498,0.382,1.55), (0.33,1.498,0.534,1.55), (0.538,1.498,0.59,1.55), (0.538,1.498,0.59,1.55), (0.538,1.498,0.726,1.55), (0.674,1.498,0.726,1.55), (0.674,1.498,0.726,1.55), (0.674,1.498,0.726,1.55), (0.674,1.498,0.86,1.55), (4.692,1.498,4.862,1.55), (4.81,1.498,4.862,1.55), (4.81,1.498,4.862,1.55), (4.81,1.498,4.862,1.55), (4.81,1.498,5.004,1.55), (2.972,1.506,3.024,1.614), (0.186,1.528,0.238,2.52), (1.824,1.562,1.876,1.614), (1.824,1.562,1.876,1.614), (1.824,1.562,2.07,1.614), (2.018,1.562,2.07,1.614), (2.018,1.562,2.168,1.614), (2.116,1.562,2.168,1.67), (2.116,1.562,2.21,1.614), (2.158,1.562,2.21,1.614), (2.158,1.562,2.346,1.614), (2.294,1.562,2.346,1.614), (2.294,1.562,2.346,1.614), (2.294,1.562,2.346,1.614), (2.294,1.562,2.456,1.614), (2.404,1.562,2.512,1.614), (2.972,1.562,3.088,1.614), (3.036,1.562,3.088,1.614), (3.036,1.562,3.198,1.614), (3.146,1.562,3.198,1.614), (3.146,1.562,3.198,1.614), (3.146,1.562,3.198,1.614), (3.146,1.562,3.336,1.614), (3.284,1.562,3.336,1.614), (3.284,1.562,3.336,1.614), (3.284,1.584,3.59,1.636), (3.538,1.584,3.59,1.636), (3.538,1.584,3.59,1.636), (3.538,1.584,3.59,1.636), (3.538,1.584,3.7,1.636), (3.648,1.584,3.7,1.636), (3.648,1.584,3.752,1.636), (3.7,1.584,3.808,1.636), (3.756,1.584,3.934,1.636), (3.882,1.584,3.934,1.636), (3.882,1.584,3.934,1.636), (3.882,1.584,3.934,1.636), (3.882,1.584,4.052,1.636), (4,1.584,4.052,1.692), (0.864,1.588,0.916,1.64), (0.864,1.588,0.916,1.64), (0.864,1.588,1.036,1.64), (0.984,1.588,1.036,1.64), (0.984,1.588,1.178,1.64), (1.126,1.588,1.234,1.64), (1.182,1.588,1.234,1.64), (1.182,1.588,1.234,1.64), (1.182,1.588,1.344,1.64), (1.292,1.588,1.344,1.64), (1.292,1.588,1.344,1.64), (1.292,1.588,1.344,1.64), (1.292,1.588,1.508,1.64), (1.456,1.588,1.564,1.64), (4.42,1.614,4.472,1.722), (4.42,1.616,4.576,1.668), (4.524,1.616,4.576,1.668), (4.524,1.616,4.582,1.668), (4.53,1.616,4.582,1.668), (4.53,1.616,4.744,1.668), (4.692,1.616,4.744,1.668), (4.692,1.616,4.744,1.668), (4.692,1.616,4.744,1.668), (4.692,1.616,4.744,1.668), (4.692,1.616,4.744,2.52), (2.116,1.618,2.168,2.52), (2.604,1.618,2.656,1.67), (2.604,1.618,2.656,1.67), (2.604,1.618,2.908,1.67), (2.856,1.618,2.908,1.67), (2.856,1.618,2.908,1.67), (2.856,1.618,2.908,1.67), (2.856,1.618,2.908,1.67), (2.856,1.618,2.908,1.67), (2.856,1.618,2.908,1.74), (4,1.64,4.052,1.692), (4,1.64,4.052,1.748), (4.406,1.67,4.472,1.722), (4.406,1.67,4.458,1.748), (2.006,1.672,2.058,1.78), (2.856,1.688,2.908,1.74), (2.856,1.688,2.908,1.74), (2.856,1.688,2.964,1.74), (4,1.696,4.282,1.748), (4.23,1.696,4.282,1.748), (4.23,1.696,4.282,1.748), (4.23,1.696,4.282,1.748), (4.23,1.696,4.458,1.748), (1.704,1.726,1.756,1.778), (1.704,1.726,1.756,1.778), (1.704,1.726,1.756,1.778), (1.704,1.726,1.756,1.778), (1.704,1.726,1.756,1.778), (1.704,1.726,1.756,1.778), (1.704,1.726,1.756,1.778), (1.704,1.726,1.932,1.778), (1.88,1.726,1.932,1.778), (1.88,1.726,1.932,1.778), (1.88,1.726,1.932,1.778), (1.88,1.726,2.058,1.778), (0,2.468,5.28,2.56), (0.186,2.468,0.238,2.52), (0.186,2.468,0.238,2.52), (0.186,2.468,0.238,2.52), (0.186,2.468,0.238,2.52), (0.186,2.468,0.238,2.52), (0.186,2.468,0.238,2.52), (0.186,2.468,0.238,2.52), (0.186,2.468,0.238,2.52), (0.186,2.468,0.238,2.52), (0.186,2.468,0.238,2.52), (0.186,2.468,0.238,2.52), (0.186,2.468,0.238,2.52), (0.186,2.468,0.238,2.52), (0.186,2.468,0.238,2.52), (0.186,2.468,0.238,2.52), (0.186,2.468,0.238,2.52), (2.116,2.468,2.168,2.52), (2.116,2.468,2.168,2.52), (2.116,2.468,2.168,2.52), (2.116,2.468,2.168,2.52), (2.116,2.468,2.168,2.52), (2.116,2.468,2.168,2.52), (2.116,2.468,2.168,2.52), (2.116,2.468,2.168,2.52), (2.116,2.468,2.168,2.52), (2.116,2.468,2.168,2.52), (2.116,2.468,2.168,2.52), (2.116,2.468,2.168,2.52), (2.116,2.468,2.168,2.52), (2.116,2.468,2.168,2.52), (2.116,2.468,2.168,2.52), (2.116,2.468,2.168,2.52), (4.692,2.468,4.744,2.52), (4.692,2.468,4.744,2.52), (4.692,2.468,4.744,2.52), (4.692,2.468,4.744,2.52), (4.692,2.468,4.744,2.52), (4.692,2.468,4.744,2.52), (4.692,2.468,4.744,2.52), (4.692,2.468,4.744,2.52), (4.692,2.468,4.744,2.52), (4.692,2.468,4.744,2.52), (4.692,2.468,4.744,2.52), (4.692,2.468,4.744,2.52)])
A(complex25, L18_0, 0.134, 1.094, 0.052, 0.052, 3, 1, 0.32, 0)
A(complex25, L18_0, 1.094, 1.094, 0.052, 0.052, 3, 1, 0.32, 0)
R(complex25, L18_0, [(0,0,5.28,0.092), (0.14,0.04,0.192,0.092), (0.14,0.04,0.192,0.092), (0.14,0.04,0.192,0.092), (0.14,0.04,0.192,0.092), (0.14,0.04,0.192,0.092), (0.14,0.04,0.192,0.092), (0.14,0.04,0.192,0.092), (0.14,0.04,0.192,0.092), (0.14,0.04,0.192,0.798), (1.08,0.04,1.132,0.092), (1.08,0.04,1.132,0.092), (1.08,0.04,1.132,0.092), (1.08,0.04,1.132,0.092), (1.08,0.04,1.132,0.092), (1.08,0.04,1.132,0.092), (1.08,0.04,1.132,0.092), (1.08,0.04,1.132,0.092), (1.08,0.04,1.132,0.704), (1.956,0.04,2.008,0.092), (1.956,0.04,2.008,0.092), (1.956,0.04,2.008,0.092), (1.956,0.04,2.008,0.092), (1.956,0.04,2.008,0.092), (1.956,0.04,2.008,0.092), (1.956,0.04,2.008,0.478), (2.68,0.04,2.732,0.092), (2.68,0.04,2.732,0.092), (2.68,0.04,2.732,0.092), (2.68,0.04,2.732,0.092), (2.68,0.04,2.732,0.092), (2.68,0.04,2.732,0.092), (2.68,0.04,2.732,0.092), (2.68,0.04,2.732,0.092), (2.68,0.04,2.732,0.536), (3.2,0.04,3.252,0.092), (3.2,0.04,3.252,0.092), (3.2,0.04,3.252,0.092), (3.2,0.04,3.252,0.092), (3.2,0.04,3.252,0.092), (3.2,0.04,3.252,0.092), (3.2,0.04,3.252,0.56), (3.5,0.04,3.552,0.092), (3.5,0.04,3.552,0.092), (3.5,0.04,3.552,0.746), (3.946,0.04,3.998,0.092), (3.946,0.04,3.998,0.092), (3.946,0.04,3.998,0.092), (3.946,0.04,3.998,0.092), (3.946,0.04,3.998,0.092), (3.946,0.04,3.998,0.092), (3.946,0.04,3.998,0.092), (3.946,0.04,3.998,0.092), (3.946,0.04,3.998,0.092), (3.946,0.04,3.998,0.092), (3.946,0.04,3.998,0.804), (5.016,0.04,5.068,0.092), (5.016,0.04,5.068,0.092), (5.016,0.04,5.068,0.092), (5.016,0.04,5.068,0.092), (5.016,0.04,5.068,0.092), (5.016,0.04,5.068,0.092), (5.016,0.04,5.068,0.716), (1.956,0.426,2.008,0.478), (1.956,0.426,2.008,0.478), (1.956,0.426,2.008,0.646), (2.68,0.484,2.732,0.704), (3.2,0.508,3.252,0.56), (3.2,0.508,3.252,0.56), (3.2,0.508,3.308,0.672), (3.814,0.586,3.888,0.694), (3.814,0.614,3.866,0.666), (0.808,0.652,0.916,0.704), (0.864,0.652,0.916,0.704), (0.864,0.652,0.916,0.704), (0.864,0.652,1.036,0.704), (0.984,0.652,1.036,0.704), (0.984,0.652,1.132,0.704), (1.08,0.652,1.132,0.704), (1.08,0.652,1.132,0.704), (1.08,0.652,1.132,0.704), (1.08,0.652,1.132,0.704), (1.08,0.652,1.188,0.704), (5.016,0.664,5.068,0.716), (5.016,0.664,5.068,0.716), (5.016,0.664,5.068,0.716), (5.016,0.664,5.068,0.716), (5.016,0.664,5.068,0.716), (5.016,0.664,5.068,0.716), (5.016,0.664,5.124,0.716), (3.5,0.694,3.552,0.746), (3.5,0.694,3.552,0.746), (3.5,0.694,3.552,0.746), (3.5,0.694,3.552,0.746), (3.5,0.694,3.552,0.746), (3.5,0.694,3.552,0.746), (3.5,0.694,3.552,0.914), (0.14,0.746,0.192,0.798), (0.14,0.746,0.192,0.798), (0.14,0.746,0.192,0.798), (0.14,0.746,0.192,0.798), (0.14,0.746,0.192,0.966), (2.776,0.746,2.906,0.91), (3.892,0.752,4,0.804), (3.946,0.752,3.998,0.804), (3.946,0.752,3.998,0.804), (2.854,0.774,2.906,0.826), (2.854,0.858,2.906,0.91), (2.854,0.858,2.906,0.91), (2.854,0.858,2.906,0.91), (2.854,0.858,2.906,0.91), (2.854,0.858,3.046,0.91), (2.994,0.858,3.046,0.91), (2.994,0.858,3.046,1.048), (2.994,0.996,3.046,1.048), (2.994,0.996,3.046,1.048), (2.994,0.996,3.046,1.048), (2.994,0.996,3.198,1.048), (3.146,0.996,3.198,1.048), (3.146,0.996,3.198,1.048), (3.146,0.996,3.198,1.048), (3.146,0.996,3.198,1.392), (2.21,1.062,2.27,1.174), (0.134,1.066,0.272,1.174), (0.44,1.066,0.506,1.174), (0.92,1.066,0.986,1.174), (1.094,1.066,1.224,1.174), (1.402,1.066,1.466,1.174), (4.92,1.066,4.986,1.174), (0.674,1.094,0.854,1.148), (0.934,1.094,0.986,1.146), (1.634,1.094,1.814,1.228), (2.214,1.094,2.266,1.146), (2.328,1.094,2.454,1.146), (2.374,1.094,2.426,1.146), (4.586,1.094,4.694,1.2), (4.614,1.094,4.666,1.146), (4.934,1.094,4.986,1.146), (5.066,1.094,5.174,1.156), (5.094,1.094,5.146,1.146), (4.08,1.252,4.214,1.306), (4.134,1.254,4.186,1.306), (3.108,1.34,3.216,1.504), (0.186,1.36,0.238,1.58), (0.482,1.386,0.59,1.55), (4.952,1.386,5.06,1.55), (2.792,1.396,2.9,1.56), (2.848,1.396,2.9,1.448), (2.848,1.396,2.9,1.448), (2.848,1.396,3.046,1.448), (2.994,1.396,3.046,1.448), (2.994,1.396,3.046,1.448), (2.994,1.396,3.046,1.448), (2.994,1.396,3.16,1.448), (3.284,1.416,3.336,1.636), (1.824,1.448,1.876,1.668), (4.692,1.448,4.744,1.668), (0.808,1.476,0.916,1.64), (0.186,1.498,0.238,1.55), (0.186,1.498,0.238,1.55), (0.186,1.498,0.382,1.55), (0.33,1.498,0.382,1.55), (0.33,1.498,0.382,1.55), (0.33,1.498,0.382,1.55), (0.33,1.498,0.534,1.55), (0.538,1.498,0.59,1.55), (0.538,1.498,0.59,1.55), (0.538,1.498,0.726,1.55), (0.674,1.498,0.726,1.55), (0.674,1.498,0.726,1.55), (0.674,1.498,0.726,1.55), (0.674,1.498,0.86,1.55), (4.692,1.498,4.862,1.55), (4.81,1.498,4.862,1.55), (4.81,1.498,4.862,1.55), (4.81,1.498,4.862,1.55), (4.81,1.498,5.004,1.55), (2.972,1.506,3.024,1.614), (0.186,1.528,0.238,2.52), (1.824,1.562,1.876,1.614), (1.824,1.562,1.876,1.614), (1.824,1.562,2.07,1.614), (2.018,1.562,2.07,1.614), (2.018,1.562,2.168,1.614), (2.116,1.562,2.168,1.67), (2.116,1.562,2.21,1.614), (2.158,1.562,2.21,1.614), (2.158,1.562,2.346,1.614), (2.294,1.562,2.346,1.614), (2.294,1.562,2.346,1.614), (2.294,1.562,2.346,1.614), (2.294,1.562,2.456,1.614), (2.404,1.562,2.512,1.614), (2.972,1.562,3.088,1.614), (3.036,1.562,3.088,1.614), (3.036,1.562,3.198,1.614), (3.146,1.562,3.198,1.614), (3.146,1.562,3.198,1.614), (3.146,1.562,3.198,1.614), (3.146,1.562,3.336,1.614), (3.284,1.562,3.336,1.614), (3.284,1.562,3.336,1.614), (3.284,1.584,3.59,1.636), (3.538,1.584,3.59,1.636), (3.538,1.584,3.59,1.636), (3.538,1.584,3.59,1.636), (3.538,1.584,3.7,1.636), (3.648,1.584,3.7,1.636), (3.648,1.584,3.752,1.636), (3.7,1.584,3.808,1.636), (3.756,1.584,3.934,1.636), (3.882,1.584,3.934,1.636), (3.882,1.584,3.934,1.636), (3.882,1.584,3.934,1.636), (3.882,1.584,4.052,1.636), (4,1.584,4.052,1.692), (0.864,1.588,0.916,1.64), (0.864,1.588,0.916,1.64), (0.864,1.588,1.036,1.64), (0.984,1.588,1.036,1.64), (0.984,1.588,1.178,1.64), (1.126,1.588,1.234,1.64), (1.182,1.588,1.234,1.64), (1.182,1.588,1.234,1.64), (1.182,1.588,1.344,1.64), (1.292,1.588,1.344,1.64), (1.292,1.588,1.344,1.64), (1.292,1.588,1.344,1.64), (1.292,1.588,1.508,1.64), (1.456,1.588,1.564,1.64), (4.42,1.614,4.472,1.722), (4.42,1.616,4.576,1.668), (4.524,1.616,4.576,1.668), (4.524,1.616,4.582,1.668), (4.53,1.616,4.582,1.668), (4.53,1.616,4.744,1.668), (4.692,1.616,4.744,1.668), (4.692,1.616,4.744,1.668), (4.692,1.616,4.744,1.668), (4.692,1.616,4.744,1.668), (4.692,1.616,4.744,2.52), (2.116,1.618,2.168,2.52), (4,1.64,4.052,1.692), (4,1.64,4.052,1.748), (4.406,1.67,4.458,1.748), (4.406,1.67,4.472,1.722), (4,1.696,4.282,1.748), (4.23,1.696,4.282,1.748), (4.23,1.696,4.282,1.748), (4.23,1.696,4.282,1.748), (4.23,1.696,4.458,1.748), (0,2.468,5.28,2.56), (0.186,2.468,0.238,2.52), (0.186,2.468,0.238,2.52), (0.186,2.468,0.238,2.52), (0.186,2.468,0.238,2.52), (0.186,2.468,0.238,2.52), (0.186,2.468,0.238,2.52), (0.186,2.468,0.238,2.52), (0.186,2.468,0.238,2.52), (0.186,2.468,0.238,2.52), (0.186,2.468,0.238,2.52), (0.186,2.468,0.238,2.52), (0.186,2.468,0.238,2.52), (0.186,2.468,0.238,2.52), (0.186,2.468,0.238,2.52), (0.186,2.468,0.238,2.52), (0.186,2.468,0.238,2.52), (2.116,2.468,2.168,2.52), (2.116,2.468,2.168,2.52), (2.116,2.468,2.168,2.52), (2.116,2.468,2.168,2.52), (2.116,2.468,2.168,2.52), (2.116,2.468,2.168,2.52), (2.116,2.468,2.168,2.52), (2.116,2.468,2.168,2.52), (2.116,2.468,2.168,2.52), (2.116,2.468,2.168,2.52), (2.116,2.468,2.168,2.52), (2.116,2.468,2.168,2.52), (2.116,2.468,2.168,2.52), (2.116,2.468,2.168,2.52), (2.116,2.468,2.168,2.52), (2.116,2.468,2.168,2.52), (4.692,2.468,4.744,2.52), (4.692,2.468,4.744,2.52), (4.692,2.468,4.744,2.52), (4.692,2.468,4.744,2.52), (4.692,2.468,4.744,2.52), (4.692,2.468,4.744,2.52), (4.692,2.468,4.744,2.52), (4.692,2.468,4.744,2.52), (4.692,2.468,4.744,2.52), (4.692,2.468,4.744,2.52), (4.692,2.468,4.744,2.52), (4.692,2.468,4.744,2.52)])
R(complex25, boundary, [(0,0,5.28,2.56)])
complex25.add(gdstk.Label('CL0#Y', (2.88,0.8), layer=11, texttype=0))
complex25.add(gdstk.Label('CL1#C', (4.64,1.12), layer=11, texttype=0))
complex25.add(gdstk.Label('CL2#C', (1.76,1.12), layer=11, texttype=0))
complex25.add(gdstk.Label('CL3#B', (2.24,1.12), layer=11, texttype=0))
complex25.add(gdstk.Label('CL3#C', (2.4,1.12), layer=11, texttype=0))
complex25.add(gdstk.Label('CL4#A', (3.84,0.64), layer=11, texttype=0))
complex25.add(gdstk.Label('CL4#B', (4.16,1.28), layer=11, texttype=0))
complex25.add(gdstk.Label('CL5#A', (5.12,1.12), layer=11, texttype=0))
complex25.add(gdstk.Label('CL5#B', (4.96,1.12), layer=11, texttype=0))
complex25.add(gdstk.Label('CL6#A', (1.12,1.12), layer=11, texttype=0))
complex25.add(gdstk.Label('CL6#B', (1.44,1.12), layer=11, texttype=0))
complex25.add(gdstk.Label('CL7#A', (0.16,1.12), layer=11, texttype=0))
complex25.add(gdstk.Label('CL7#B', (0.48,1.12), layer=11, texttype=0))
complex25.add(gdstk.Label('CL8#A', (0.96,1.12), layer=11, texttype=0))
complex25.add(gdstk.Label('CL8#B', (0.8,1.12), layer=11, texttype=0))

lib.write_gds('COMPLEX25.gds')
